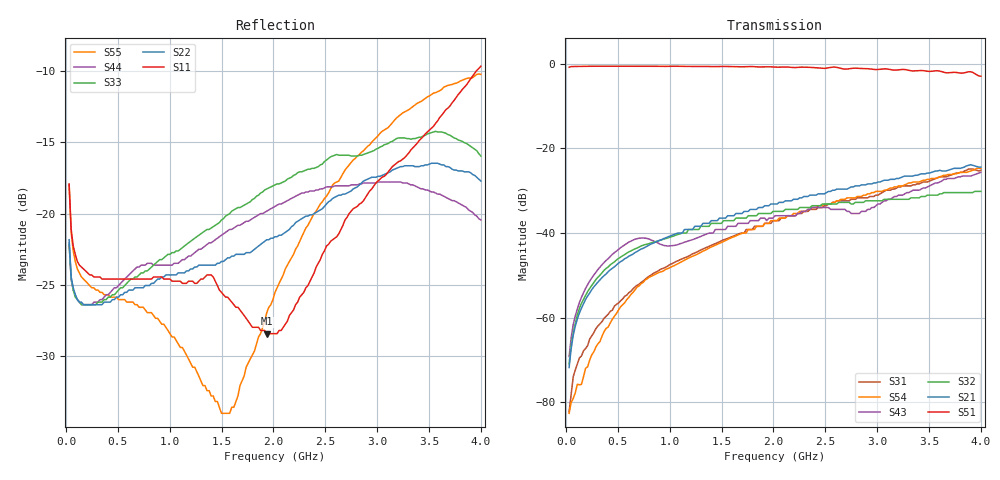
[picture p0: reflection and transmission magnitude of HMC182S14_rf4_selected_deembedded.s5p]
!Hittite Microwave Corporation
!12 Elizabeth Drive
!Chelmsford, MA 01824
!Tel: 978-250-3343
!Fax: 978-250-3373
!Device: HMC182S14, DC-2 GHz GaAS MMIC SP4T Non-Reflective Switch in 14-lead SOIC package
!Misc: Port 1 = RFCom, Port 2 = RF1, Port 3 = RF2, Port 4 = RF3, Port 5 = RF4, RF4 selected, Vctl=0/-5V
# MHZ S MA R 50
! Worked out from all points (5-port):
!   201 points, 30 MHz to 4 GHz, reference 50 ohm
!   strongest paths, dB at 30 MHz, 1.022 GHz, 2.015 GHz, 3.007 GHz, 4 GHz:
!     S51: -0.9, -0.6, -0.8, -1.4, -3.0
!     S21: -71.8, -40.5, -33.2, -28.0, -24.4
!     S32: -70.8, -40.8, -34.9, -32.4, -30.2
!     S43: -69.2, -43.0, -35.9, -33.2, -25.7
!     S54: -82.6, -47.9, -37.1, -30.2, -24.7
!     S31: -82.2, -47.2, -37.1, -31.1, -25.2
!   lowest |S11| = -28.4 dB at 1.936 GHz (marker M1), VSWR 1.08, Z = 46.6 - j1.42 ohm
!   |S11| at or under -10 dB: start of sweep to 3.958 GHz
